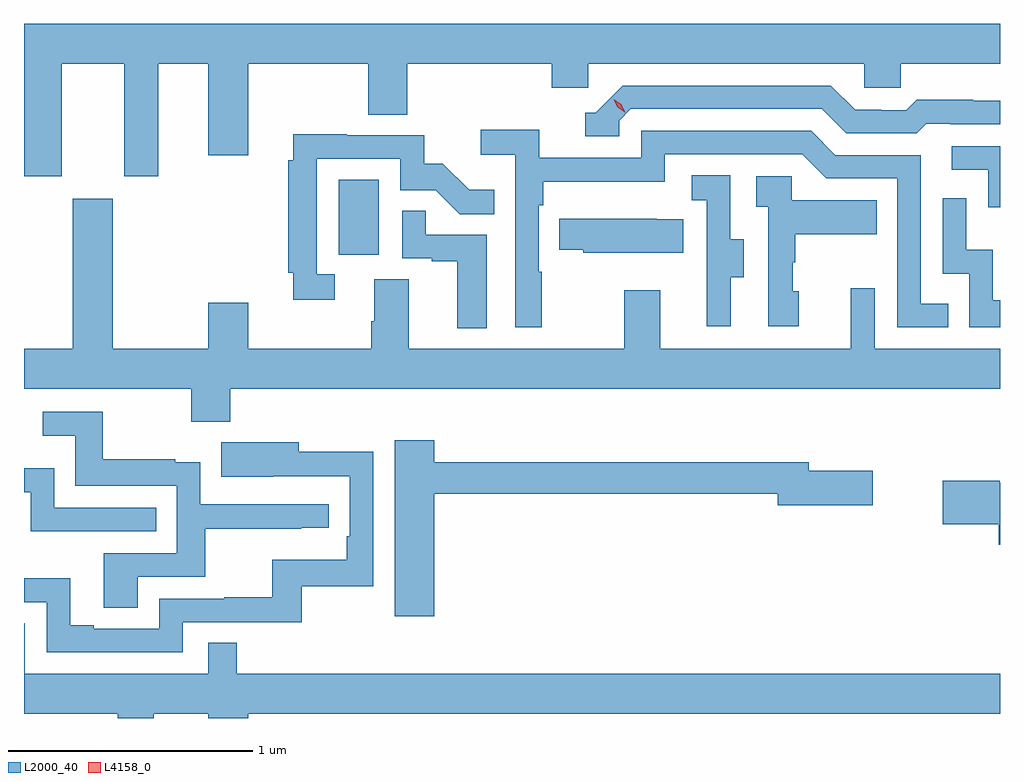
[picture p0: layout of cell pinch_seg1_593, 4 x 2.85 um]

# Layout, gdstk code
import gdstk
lib = gdstk.Library(unit=1e-6, precision=1e-09)
def R(c, l, rs):  # rectangles x0, y0, x1, y1
    for r in rs: c.add(gdstk.rectangle(r[:2], r[2:], *l))
def P(c, l, *ps):  # polygons
    for p in ps: c.add(gdstk.Polygon(p, *l))
L2000_40 = (2000, 40)
L4158_0 = (4158, 0)

pinch_seg1_593 = lib.new_cell('pinch_seg1_593')
R(pinch_seg1_593, L2000_40, [(1040.666,505.662,1040.83,505.969)])
P(pinch_seg1_593, L2000_40, [(1039.531,506.444),(1039.787,506.444),(1039.787,505.983),(1039.927,505.983),(1039.927,506.444),(1040.132,506.444),(1040.132,506.07),(1040.296,506.07),(1040.296,506.444),(1040.788,506.444),(1040.788,506.236),(1040.948,506.236),(1040.948,506.444),(1041.539,506.444),(1041.539,506.346),(1041.69,506.346),(1041.69,506.444),(1042.821,506.444),(1042.821,506.346),(1042.971,506.346),(1042.971,506.444),(1043.377,506.444),(1043.377,506.608),(1039.377,506.608),(1039.377,506.444),(1039.379,506.444),(1039.379,505.983),(1039.531,505.983)],
  [(1041.816,506.211),(1041.864,506.259),(1042.647,506.259),(1042.746,506.16),(1043.035,506.16),(1043.074,506.199),(1043.173,506.199),(1043.173,506.196),(1043.377,506.196),(1043.377,506.293),(1043.268,506.293),(1043.268,506.296),(1043.035,506.296),(1042.993,506.253),(1042.89,506.253),(1042.89,506.256),(1042.783,506.256),(1042.684,506.355),(1041.831,506.355),(1041.72,506.244),(1041.677,506.244),(1041.677,506.148),(1041.816,506.148)],
  [(1041.499,505.592),(1041.486,505.592),(1041.486,505.865),(1041.506,505.865),(1041.506,505.961),(1042.002,505.961),(1042.002,506.073),(1042.566,506.073),(1042.665,505.974),(1042.956,505.974),(1042.956,505.365),(1043.165,505.365),(1043.165,505.461),(1043.052,505.461),(1043.052,506.07),(1042.702,506.07),(1042.603,506.169),(1041.906,506.169),(1041.906,506.058),(1041.488,506.058),(1041.488,506.174),(1041.249,506.174),(1041.249,506.072),(1041.39,506.072),(1041.39,505.365),(1041.499,505.365)],
  [(1040.65,505.581),(1040.577,505.581),(1040.577,506.055),(1040.919,506.055),(1040.919,505.926),(1041.064,505.926),(1041.162,505.828),(1041.305,505.828),(1041.305,505.927),(1041.201,505.927),(1041.094,506.034),(1041.018,506.034),(1041.018,506.151),(1040.699,506.151),(1040.699,506.156),(1040.48,506.156),(1040.48,506.048),(1040.461,506.048),(1040.461,505.588),(1040.48,505.588),(1040.48,505.476),(1040.65,505.476)],
  [(1043.377,506.106),(1043.18,506.106),(1043.18,506.01),(1043.328,506.01),(1043.328,505.857),(1043.377,505.857)],
  [(1042.273,505.57),(1042.327,505.57),(1042.327,505.725),(1042.272,505.725),(1042.272,505.988),(1042.113,505.988),(1042.113,505.885),(1042.176,505.885),(1042.176,505.581),(1042.175,505.581),(1042.175,505.368),(1042.273,505.368)],
  [(1042.552,505.512),(1042.527,505.512),(1042.527,505.631),(1042.537,505.631),(1042.537,505.745),(1042.871,505.745),(1042.871,505.885),(1042.524,505.885),(1042.524,505.983),(1042.377,505.983),(1042.377,505.859),(1042.428,505.859),(1042.428,505.368),(1042.552,505.368)],
  [(1043.377,505.474),(1043.348,505.474),(1043.348,505.682),(1043.238,505.682),(1043.238,505.894),(1043.142,505.894),(1043.142,505.584),(1043.25,505.584),(1043.25,505.365),(1043.377,505.365)],
  [(1043.377,505.276),(1042.863,505.276),(1042.863,505.525),(1042.766,505.525),(1042.766,505.276),(1041.985,505.276),(1041.985,505.516),(1041.838,505.516),(1041.838,505.276),(1040.953,505.276),(1040.953,505.562),(1040.813,505.562),(1040.813,505.388),(1040.801,505.388),(1040.801,505.276),(1040.296,505.276),(1040.296,505.465),(1040.132,505.465),(1040.132,505.276),(1039.741,505.276),(1039.741,505.891),(1039.577,505.891),(1039.577,505.276),(1039.377,505.276),(1039.377,505.112),(1040.062,505.112),(1040.062,504.977),(1040.222,504.977),(1040.222,505.112),(1043.377,505.112)],
  [(1041.274,505.743),(1041.023,505.743),(1041.023,505.841),(1040.928,505.841),(1040.928,505.647),(1041.049,505.647),(1041.049,505.635),(1041.152,505.635),(1041.152,505.361),(1041.274,505.361)],
  [(1042.079,505.807),(1041.971,505.807),(1041.971,505.81),(1041.571,505.81),(1041.571,505.681),(1041.669,505.681),(1041.669,505.67),(1042.079,505.67)],
  [(1039.843,504.342),(1040.12,504.342),(1040.12,504.538),(1040.513,504.538),(1040.513,504.543),(1040.626,504.543),(1040.626,504.639),(1040.1,504.639),(1040.1,504.811),(1039.997,504.811),(1039.997,504.823),(1039.699,504.823),(1039.699,505.017),(1039.453,505.017),(1039.453,504.92),(1039.588,504.92),(1039.588,504.714),(1040.004,504.714),(1040.004,504.438),(1039.703,504.438),(1039.703,504.214),(1039.843,504.214)],
  [(1041.058,504.682),(1042.466,504.682),(1042.466,504.635),(1042.855,504.635),(1042.855,504.777),(1042.594,504.777),(1042.594,504.811),(1041.058,504.811),(1041.058,504.901),(1040.897,504.901),(1040.897,504.18),(1041.058,504.18)],
  [(1040.028,504.156),(1040.515,504.156),(1040.515,504.303),(1040.808,504.303),(1040.808,504.854),(1040.503,504.854),(1040.503,504.892),(1040.185,504.892),(1040.185,504.752),(1040.399,504.752),(1040.399,504.753),(1040.712,504.753),(1040.712,504.508),(1040.699,504.508),(1040.699,504.412),(1040.394,504.412),(1040.394,504.257),(1040.197,504.257),(1040.197,504.252),(1039.932,504.252),(1039.932,504.129),(1039.663,504.129),(1039.663,504.142),(1039.567,504.142),(1039.567,504.335),(1039.377,504.335),(1039.377,504.237),(1039.47,504.237),(1039.47,504.033),(1040.028,504.033)],
  [(1039.919,504.624),(1039.5,504.624),(1039.5,504.787),(1039.377,504.787),(1039.377,504.689),(1039.404,504.689),(1039.404,504.528),(1039.919,504.528)],
  [(1043.377,504.727),(1043.376,504.727),(1043.376,504.735),(1043.142,504.735),(1043.142,504.557),(1043.372,504.557),(1043.372,504.473),(1043.377,504.473)],
  [(1039.909,503.78),(1040.132,503.78),(1040.132,503.762),(1040.296,503.762),(1040.296,503.78),(1043.377,503.78),(1043.377,503.944),(1040.249,503.944),(1040.249,504.071),(1040.133,504.071),(1040.133,503.944),(1039.381,503.944),(1039.381,504.152),(1039.377,504.152),(1039.377,503.78),(1039.762,503.78),(1039.762,503.762),(1039.909,503.762)])
P(pinch_seg1_593, L4158_0, [(1041.84,506.246),(1041.81,506.265),(1041.794,506.297),(1041.794,506.298),(1041.794,506.298),(1041.825,506.278),(1041.841,506.246),(1041.841,506.246)])

lib.write_gds('pinch_seg1_593.gds')
